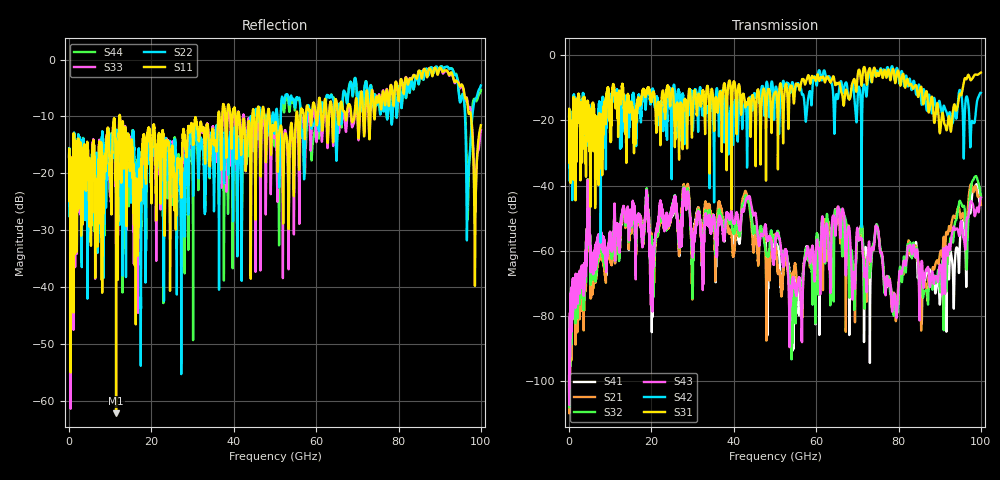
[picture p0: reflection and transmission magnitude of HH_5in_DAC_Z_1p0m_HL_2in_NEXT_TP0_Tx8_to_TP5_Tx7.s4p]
# GHz S RI R 45
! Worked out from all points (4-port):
!   4000 points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, 25 MHz to 100 GHz, reference 45 ohm
!   strongest paths, dB at 25 MHz, 25.02 GHz, 50.02 GHz, 75.03 GHz, 100 GHz:
!     S31: -18.8, -10.2, -11.4, -5.7, -5.3
!     S42: -18.8, -19.7, -11.3, -5.7, -11.5
!     S43: -98.4, -48.1, -57.9, -53.3, -43.7
!     S32: -99.9, -47.2, -58.4, -53.8, -43.6
!     S21: -101.4, -47.4, -55.8, -53.3, -45.9
!     S41: -99.9, -48.2, -58.7, -53.9, -43.4
!   lowest |S11| = -62.1 dB at 11.43 GHz (marker M1), VSWR 1.00, Z = 45 - j0.0645 ohm
!   |S11| at or under -10 dB: start of sweep to 12.26 GHz; 12.4 GHz to 36.22 GHz (23.82 GHz wide, 98 % of centre); 48.71 GHz to 55.13 GHz (6.426 GHz wide, 12.4 % of centre) (the widest 3 of 27)
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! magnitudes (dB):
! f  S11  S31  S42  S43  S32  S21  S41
! 25 MHz  -17.1  -18.8  -18.8  -98.4  -99.9  -101.4  -99.9
! 11.43 GHz  -62.1  -16.0  -13.6  -54.3  -54.7  -55.7  -55.3
! 43.2 GHz  -15.2  -14.8  -29.8  -43.9  -43.9  -43.1  -43.0
! 54.23 GHz  -13.0  -10.1  -8.3  -70.4  -88.3  -69.4  -80.6
! 65.58 GHz  -11.2  -8.4  -10.5  -48.0  -47.7  -49.7  -47.1
! 79.1 GHz  -5.1  -7.9  -7.5  -73.9  -75.2  -76.0  -73.4
! 100 GHz  -11.5  -5.3  -11.5  -43.7  -43.6  -45.9  -43.4
